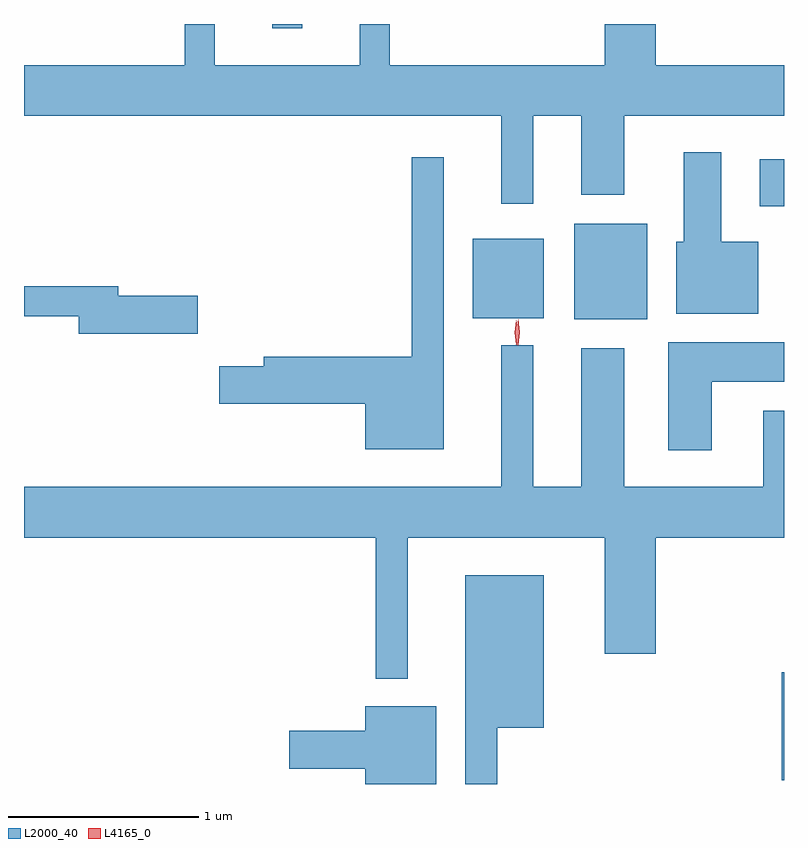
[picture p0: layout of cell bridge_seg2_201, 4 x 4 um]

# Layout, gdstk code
import gdstk
lib = gdstk.Library(unit=1e-6, precision=1e-09)
def R(c, l, rs):  # rectangles x0, y0, x1, y1
    for r in rs: c.add(gdstk.rectangle(r[:2], r[2:], *l))
def P(c, l, *ps):  # polygons
    for p in ps: c.add(gdstk.Polygon(p, *l))
L2000_40 = (2000, 40)
L4165_0 = (4165, 0)

bridge_seg2_201 = lib.new_cell('bridge_seg2_201')
R(bridge_seg2_201, L2000_40, [(975.246,984.881,975.259,985.449), (974.156,987.306,974.539,987.809), (973.621,987.311,973.994,987.729), (975.131,987.901,975.259,988.149), (972.566,988.838,972.724,988.86)])
P(bridge_seg2_201, L2000_40, [(973.939,988.376),(974.191,988.376),(974.191,987.961),(974.419,987.961),(974.419,988.376),(975.259,988.376),(975.259,988.644),(974.584,988.644),(974.584,988.86),(974.316,988.86),(974.316,988.644),(973.184,988.644),(973.184,988.86),(973.026,988.86),(973.026,988.644),(972.264,988.644),(972.264,988.86),(972.106,988.86),(972.106,988.644),(971.259,988.644),(971.259,988.376),(973.771,988.376),(973.771,987.913),(973.939,987.913)],
  [(975.124,987.714),(974.929,987.714),(974.929,988.184),(974.731,988.184),(974.731,987.714),(974.691,987.714),(974.691,987.336),(975.124,987.336)],
  [(973.469,988.158),(973.301,988.158),(973.301,987.109),(972.521,987.109),(972.521,987.059),(972.286,987.059),(972.286,986.861),(973.056,986.861),(973.056,986.621),(973.469,986.621)],
  [(972.174,987.429),(971.754,987.429),(971.754,987.479),(971.259,987.479),(971.259,987.321),(971.546,987.321),(971.546,987.231),(972.174,987.231)],
  [(974.879,986.976),(975.259,986.976),(975.259,987.184),(974.651,987.184),(974.651,986.616),(974.879,986.616)],
  [(973.279,986.156),(974.316,986.156),(974.316,985.546),(974.584,985.546),(974.584,986.156),(975.259,986.156),(975.259,986.824),(975.151,986.824),(975.151,986.424),(974.419,986.424),(974.419,987.154),(974.191,987.154),(974.191,986.424),(973.939,986.424),(973.939,987.168),(973.771,987.168),(973.771,986.424),(971.259,986.424),(971.259,986.156),(973.111,986.156),(973.111,985.413),(973.279,985.413)],
  [(973.749,985.156),(973.994,985.156),(973.994,985.959),(973.581,985.959),(973.581,984.86),(973.749,984.86)],
  [(973.429,985.269),(973.056,985.269),(973.056,985.139),(972.656,985.139),(972.656,984.941),(973.056,984.941),(973.056,984.86),(973.429,984.86)])
P(bridge_seg2_201, L4165_0, [(973.851,987.173),(973.851,987.173),(973.841,987.237),(973.85,987.301),(973.85,987.302),(973.851,987.301),(973.861,987.237),(973.852,987.173)],
  [(973.859,987.169),(973.858,987.17),(973.849,987.238),(973.859,987.305),(973.86,987.306),(973.86,987.305),(973.869,987.238),(973.859,987.17)])

lib.write_gds('bridge_seg2_201.gds')
